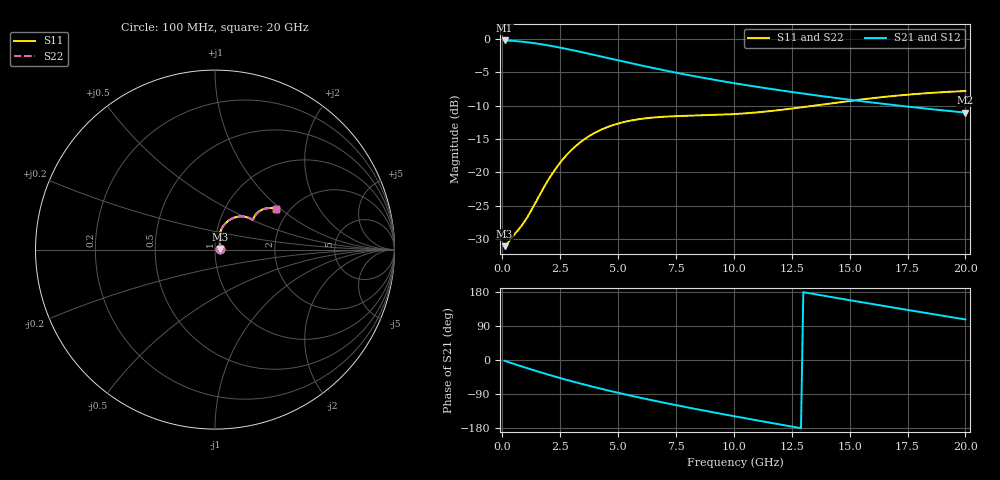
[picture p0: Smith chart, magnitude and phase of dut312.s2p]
! Touchstone file exported from HFSS 2024.1.0
!  File:  C:/UserFiles/LocalFiles/RDL_TSV_Batchsim/temp_RDL_TSV_312_1779627701.aedt
!  Generated:  09:21:15 PM May 24, 2026
!  Design:  RDL_TSV
!  Project:  temp_RDL_TSV_312_1779627701
!  Setup:  Setup1
!  Solution:  Sweep
! Variables:
!  dtsv = 8.44um
!  hbump = 3um
!  htsv = 96.67um
!  ldown = 284.81um
!  lrdl = 648.77um
!  p = 40
!  p1 = 40.61um
!  rhole = 10um
!  subl = 3449.51um
!  t = 450um
!  tdown = 2.29um
!  trdl = 3.15um
!  viad = 10um
!  wdown = 27.97um
!  wrdl = 12.9um
!  xbump = 18um
# GHz S MA R 50.000000
! Terminal data exported
! Port[1] = TM1_1_T1
! Port[2] = TM1_4_T1
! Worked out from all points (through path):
!   200 points, 100 MHz to 20 GHz, reference 50 ohm
!   highest |S21| = -0.25 dB at 100 MHz (marker M1); lowest = -11.1 dB at 20 GHz (marker M2)
!   group delay of S21, straight-line fit = 33.5 ps
!   lowest |S11| = -31.1 dB at 100 MHz (marker M3), VSWR 1.06, Z = 52.8 + j0.421 ohm
!   |S11| at or under -10 dB: start of sweep to 13.5 GHz
!   |S22| runs from -31.1 to -7.9 dB; largest |S21 - S12| = 9.5e-15
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0.1  0.0279 8.2  0.9721 -2.1  0.9721 -2.1  0.0279 8.2
! Gamma 0 0 0 0
! Port Impedance 50 0 50 0
0.5  0.03381 31.5  0.9639 -10.3  0.9639 -10.3  0.03381 31.5
0.9  0.04119 48.7  0.9501 -18.2  0.9501 -18.2  0.04118 48.7
1.4  0.05765 65.2  0.9266 -27.8  0.9266 -27.8  0.05767 65.3
1.8  0.0772 71.6  0.9038 -35.2  0.9038 -35.2  0.07725 71.6
2.2  0.1001 73.3  0.8787 -42.4  0.8787 -42.4  0.1002 73.3
2.6  0.1241 72.2  0.852 -49.4  0.852 -49.4  0.1242 72.2
3  0.1475 69.7  0.8244 -56.1  0.8244 -56.1  0.1476 69.7
3.5  0.1744 65.6  0.7896 -64.2  0.7896 -64.2  0.1746 65.6
4.3  0.2095 58.5  0.7351 -76.4  0.7351 -76.4  0.2098 58.6
5.2  0.2366 51.4  0.6778 -89.3  0.6778 -89.3  0.2369 51.4
6  0.2512 46.4  0.6315 -100.1  0.6315 -100.1  0.2515 46.4
6.8  0.2594 42.6  0.5901 -110.4  0.5901 -110.4  0.2597 42.6
7.6  0.2636 40.2  0.5532 -120.3  0.5532 -120.3  0.264 40.1
8.4  0.266 38.8  0.5205 -129.8  0.5205 -129.8  0.2665 38.8
10.1  0.2733 38.8  0.4624 -149.3  0.4624 -149.3  0.2737 38.7
11.7  0.2888 40.2  0.4185 -167.0  0.4185 -167.0  0.289 40.0
13.4  0.3145 41.0  0.38 174.7  0.38 174.7  0.3144 40.9
15.1  0.344 40.4  0.3477 156.8  0.3477 156.8  0.3437 40.2
16.7  0.3701 38.6  0.3219 140.3  0.3219 140.3  0.3694 38.4
18.3  0.391 36.3  0.2998 124.1  0.2998 124.1  0.39 36.1
20  0.4062 33.8  0.2798 107.0  0.2798 107.0  0.405 33.6
